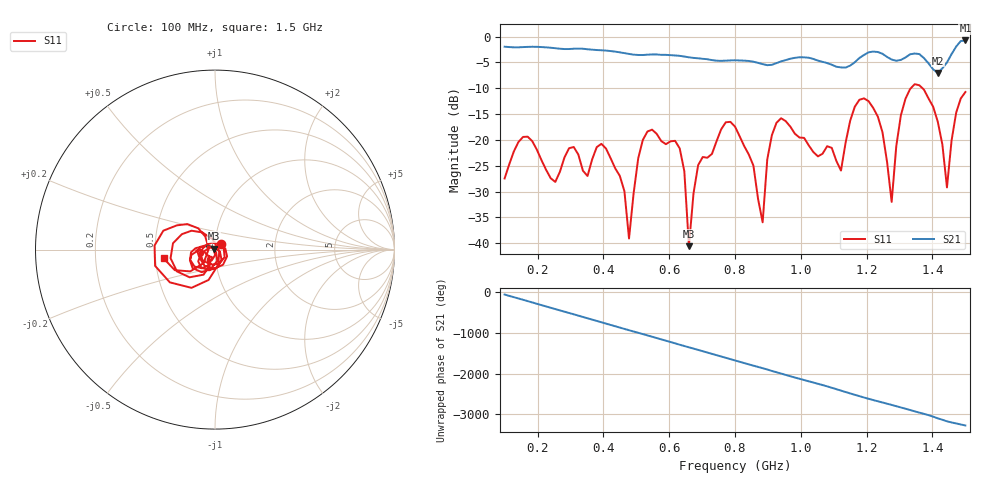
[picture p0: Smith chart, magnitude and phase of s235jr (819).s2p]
! NanoVNA-App
! Date: 2025-09-25 15:10:32
! Start: 100MHz Stop: 1,5GHz Points: 101
! S-Parameter data: F S11 S21 S12 S22
# Hz S RI R 50
!  Frequency  S11_Real  S11_Imag  S21_Real  S21_Imag  S12_Real  S12_Imag  S22_Real  S22_Imag
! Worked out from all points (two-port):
!   101 points, 100 MHz to 1.5 GHz, reference 50 ohm
!   highest |S21| = -0.76 dB at 1.5 GHz (marker M1); lowest = -7.0 dB at 1.416 GHz (marker M2)
!   |S21| within 3 dB of the highest: start of sweep to 634.1 MHz; 1.187 GHz to 1.258 GHz (70.3 MHz wide, 5.75 % of centre) (the widest 2 of 4)
!   lowest |S11| = -40.6 dB at 660 MHz (marker M3), VSWR 1.02, Z = 49.3 + j0.589 ohm
!   |S11| at or under -10 dB: start of sweep to 1.334 GHz; 1.37 GHz to end of sweep
!   S12 and S22 are empty: the file has one direction only
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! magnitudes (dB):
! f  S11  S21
! 100 MHz  -27.5  -2.0
! 156 MHz  -19.4  -2.0
! 338 MHz  -26.0  -2.4
! 408 MHz  -21.7  -2.7
! 478 MHz  -39.1  -3.4
! 520 MHz  -20.0  -3.6
! 576 MHz  -20.2  -3.5
! 632 MHz  -21.6  -3.7
! 660 MHz  -40.6  -4.0
! 688 MHz  -24.9  -4.2
! 800 MHz  -17.4  -4.6
! 884 MHz  -36.0  -5.3
! 926 MHz  -16.7  -5.1
! 1.038 GHz  -22.4  -4.3
! 1.122 GHz  -25.9  -6.0
! 1.206 GHz  -12.5  -3.0
! 1.276 GHz  -32.0  -4.5
! 1.304 GHz  -15.2  -4.5
! 1.332 GHz  -10.2  -3.4
! 1.416 GHz  -16.5  -7.0
! 1.444 GHz  -29.2  -5.0
! 1.5 GHz  -10.7  -0.8
